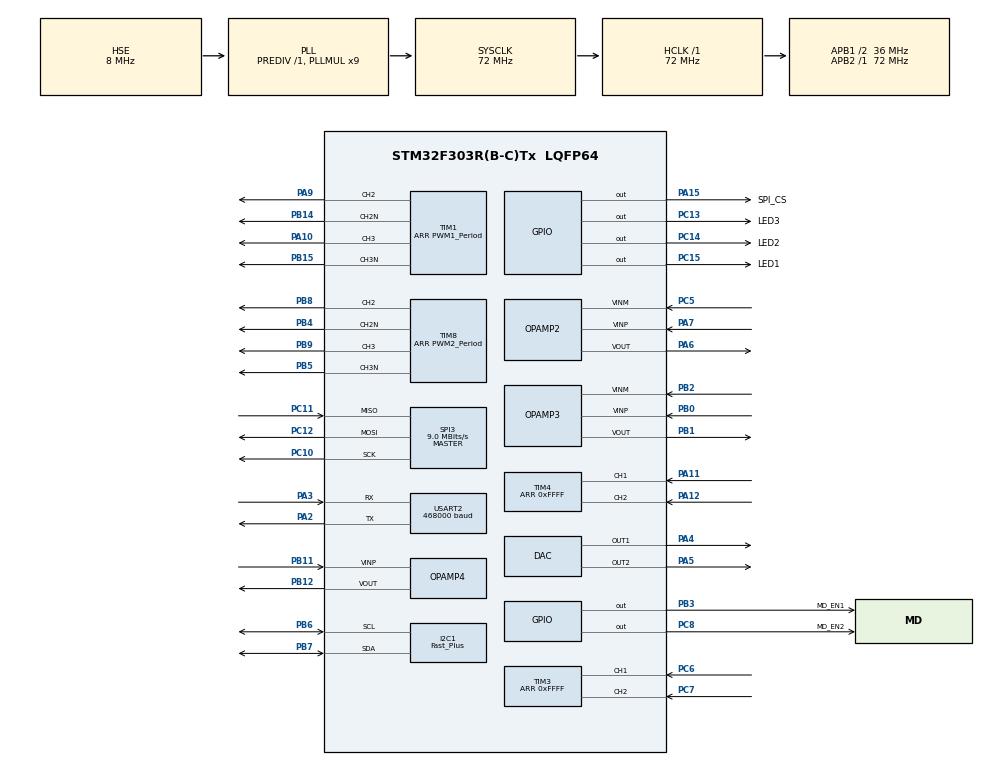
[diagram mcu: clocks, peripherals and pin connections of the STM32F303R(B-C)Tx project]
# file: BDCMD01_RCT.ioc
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ADC1.Channel-0\#ChannelRegularConversion=ADC_CHANNEL_TEMPSENSOR
ADC1.Channel-1\#ChannelRegularConversion=ADC_CHANNEL_VREFINT
ADC1.ClockPrescaler=ADC_CLOCK_ASYNC_DIV1
ADC1.ContinuousConvMode=ENABLE
ADC1.DMAContinuousRequests=ENABLE
ADC1.DataAlign=ADC_DATAALIGN_RIGHT
ADC1.DiscontinuousConvMode=DISABLE
ADC1.EOCSelection=ADC_EOC_SEQ_CONV
ADC1.EnableAnalogWatchDog1=false
ADC1.EnableAnalogWatchDog2=false
ADC1.EnableAnalogWatchDog3=false
ADC1.EnableInjectedConversion=DISABLE
ADC1.EnableRegularConversion=ENABLE
ADC1.ExternalTrigConv=ADC_SOFTWARE_START
ADC1.ExternalTrigConvEdge=ADC_EXTERNALTRIGCONVEDGE_NONE
ADC1.LowPowerAutoWait=DISABLE
ADC1.NbrOfConversion=2
ADC1.Offset-0\#ChannelRegularConversion=0
ADC1.Offset-1\#ChannelRegularConversion=0
ADC1.OffsetNumber-0\#ChannelRegularConversion=ADC_OFFSET_NONE
ADC1.OffsetNumber-1\#ChannelRegularConversion=ADC_OFFSET_NONE
ADC1.Overrun=ADC_OVR_DATA_OVERWRITTEN
ADC1.Rank-0\#ChannelRegularConversion=1
ADC1.Rank-1\#ChannelRegularConversion=2
ADC1.Resolution=ADC_RESOLUTION_12B
ADC1.SamplingTime-0\#ChannelRegularConversion=ADC_SAMPLETIME_601CYCLES_5
ADC1.SamplingTime-1\#ChannelRegularConversion=ADC_SAMPLETIME_601CYCLES_5
ADC1.ScanConvMode=ADC_SCAN_ENABLE
ADC1.master=1
ADC2.Channel-0\#ChannelRegularConversion=ADC_CHANNEL_3
ADC2.ClockPrescaler=ADC_CLOCK_ASYNC_DIV1
ADC2.ContinuousConvMode=ENABLE
ADC2.DMAContinuousRequests=ENABLE
ADC2.DataAlign=ADC_DATAALIGN_RIGHT
ADC2.DiscontinuousConvMode=DISABLE
ADC2.EOCSelection=ADC_EOC_SEQ_CONV
ADC2.EnableAnalogWatchDog1=false
ADC2.EnableAnalogWatchDog2=false
ADC2.EnableAnalogWatchDog3=false
ADC2.EnableInjectedConversion=DISABLE
ADC2.EnableRegularConversion=ENABLE
ADC2.LowPowerAutoWait=DISABLE
ADC2.NbrOfConversion=1
ADC2.Offset-0\#ChannelRegularConversion=0
ADC2.OffsetNumber-0\#ChannelRegularConversion=ADC_OFFSET_NONE
ADC2.Overrun=ADC_OVR_DATA_PRESERVED
ADC2.Rank-0\#ChannelRegularConversion=1
ADC2.Resolution=ADC_RESOLUTION_12B
ADC2.SamplingTime-0\#ChannelRegularConversion=ADC_SAMPLETIME_61CYCLES_5
ADC2.ScanConvMode=ADC_SCAN_DISABLE
ADC3.Channel-0\#ChannelRegularConversion=ADC_CHANNEL_1
ADC3.ClockPrescaler=ADC_CLOCK_ASYNC_DIV1
ADC3.ContinuousConvMode=ENABLE
ADC3.DMAContinuousRequests=ENABLE
ADC3.DataAlign=ADC_DATAALIGN_RIGHT
ADC3.DiscontinuousConvMode=DISABLE
ADC3.EOCSelection=ADC_EOC_SEQ_CONV
ADC3.EnableAnalogWatchDog1=false
ADC3.EnableAnalogWatchDog2=false
ADC3.EnableAnalogWatchDog3=false
ADC3.EnableInjectedConversion=DISABLE
ADC3.EnableRegularConversion=ENABLE
ADC3.ExternalTrigConv=ADC_SOFTWARE_START
ADC3.ExternalTrigConvEdge=ADC_EXTERNALTRIGCONVEDGE_NONE
ADC3.LowPowerAutoWait=DISABLE
ADC3.NbrOfConversion=1
ADC3.Offset-0\#ChannelRegularConversion=0
ADC3.OffsetNumber-0\#ChannelRegularConversion=ADC_OFFSET_NONE
ADC3.Overrun=ADC_OVR_DATA_PRESERVED
ADC3.Rank-0\#ChannelRegularConversion=1
ADC3.Resolution=ADC_RESOLUTION_12B
ADC3.SamplingTime-0\#ChannelRegularConversion=ADC_SAMPLETIME_61CYCLES_5
ADC3.ScanConvMode=ADC_SCAN_DISABLE
ADC3.master=1
ADC4.Channel-0\#ChannelRegularConversion=ADC_CHANNEL_3
ADC4.ClockPrescaler=ADC_CLOCK_ASYNC_DIV1
ADC4.ContinuousConvMode=ENABLE
ADC4.DMAContinuousRequests=ENABLE
ADC4.DataAlign=ADC_DATAALIGN_RIGHT
ADC4.DiscontinuousConvMode=DISABLE
ADC4.EOCSelection=ADC_EOC_SEQ_CONV
ADC4.EnableAnalogWatchDog1=false
ADC4.EnableAnalogWatchDog2=false
ADC4.EnableAnalogWatchDog3=false
ADC4.EnableInjectedConversion=DISABLE
ADC4.EnableRegularConversion=ENABLE
ADC4.LowPowerAutoWait=DISABLE
ADC4.NbrOfConversion=1
ADC4.Offset-0\#ChannelRegularConversion=0
ADC4.OffsetNumber-0\#ChannelRegularConversion=ADC_OFFSET_NONE
ADC4.Overrun=ADC_OVR_DATA_PRESERVED
ADC4.Rank-0\#ChannelRegularConversion=1
ADC4.Resolution=ADC_RESOLUTION_12B
ADC4.SamplingTime-0\#ChannelRegularConversion=ADC_SAMPLETIME_601CYCLES_5
ADC4.ScanConvMode=ADC_SCAN_DISABLE
Dma.ADC1.6.Direction=DMA_PERIPH_TO_MEMORY
Dma.ADC1.6.Instance=DMA1_Channel1
Dma.ADC1.6.MemDataAlignment=DMA_MDATAALIGN_HALFWORD
Dma.ADC1.6.MemInc=DMA_MINC_ENABLE
Dma.ADC1.6.Mode=DMA_CIRCULAR
Dma.ADC1.6.PeriphDataAlignment=DMA_PDATAALIGN_HALFWORD
Dma.ADC1.6.PeriphInc=DMA_PINC_DISABLE
Dma.ADC1.6.Priority=DMA_PRIORITY_HIGH
Dma.ADC2.7.Direction=DMA_PERIPH_TO_MEMORY
Dma.ADC2.7.Instance=DMA2_Channel3
Dma.ADC2.7.MemDataAlignment=DMA_MDATAALIGN_HALFWORD
Dma.ADC2.7.MemInc=DMA_MINC_ENABLE
Dma.ADC2.7.Mode=DMA_CIRCULAR
Dma.ADC2.7.PeriphDataAlignment=DMA_PDATAALIGN_HALFWORD
Dma.ADC2.7.PeriphInc=DMA_PINC_DISABLE
Dma.ADC2.7.Priority=DMA_PRIORITY_HIGH
Dma.ADC3.5.Direction=DMA_PERIPH_TO_MEMORY
Dma.ADC3.5.Instance=DMA2_Channel5
Dma.ADC3.5.MemDataAlignment=DMA_MDATAALIGN_HALFWORD
Dma.ADC3.5.MemInc=DMA_MINC_ENABLE
Dma.ADC3.5.Mode=DMA_CIRCULAR
Dma.ADC3.5.PeriphDataAlignment=DMA_PDATAALIGN_HALFWORD
Dma.ADC3.5.PeriphInc=DMA_PINC_DISABLE
Dma.ADC3.5.Priority=DMA_PRIORITY_HIGH
Dma.ADC4.4.Direction=DMA_PERIPH_TO_MEMORY
Dma.ADC4.4.Instance=DMA2_Channel4
Dma.ADC4.4.MemDataAlignment=DMA_MDATAALIGN_HALFWORD
Dma.ADC4.4.MemInc=DMA_MINC_ENABLE
Dma.ADC4.4.Mode=DMA_CIRCULAR
Dma.ADC4.4.PeriphDataAlignment=DMA_PDATAALIGN_HALFWORD
Dma.ADC4.4.PeriphInc=DMA_PINC_DISABLE
Dma.ADC4.4.Priority=DMA_PRIORITY_HIGH
Dma.I2C1_RX.2.Direction=DMA_PERIPH_TO_MEMORY
Dma.I2C1_RX.2.Instance=DMA1_Channel7
Dma.I2C1_RX.2.MemDataAlignment=DMA_MDATAALIGN_BYTE
Dma.I2C1_RX.2.MemInc=DMA_MINC_ENABLE
Dma.I2C1_RX.2.Mode=DMA_NORMAL
Dma.I2C1_RX.2.PeriphDataAlignment=DMA_PDATAALIGN_BYTE
Dma.I2C1_RX.2.PeriphInc=DMA_PINC_DISABLE
Dma.I2C1_RX.2.Priority=DMA_PRIORITY_LOW
Dma.I2C1_TX.3.Direction=DMA_MEMORY_TO_PERIPH
Dma.I2C1_TX.3.Instance=DMA1_Channel6
Dma.I2C1_TX.3.MemDataAlignment=DMA_MDATAALIGN_BYTE
Dma.I2C1_TX.3.MemInc=DMA_MINC_ENABLE
Dma.I2C1_TX.3.Mode=DMA_NORMAL
Dma.I2C1_TX.3.PeriphDataAlignment=DMA_PDATAALIGN_BYTE
Dma.I2C1_TX.3.PeriphInc=DMA_PINC_DISABLE
Dma.I2C1_TX.3.Priority=DMA_PRIORITY_LOW
Dma.Request0=SPI3_RX
Dma.Request1=SPI3_TX
Dma.Request2=I2C1_RX
Dma.Request3=I2C1_TX
Dma.Request4=ADC4
Dma.Request5=ADC3
Dma.Request6=ADC1
Dma.Request7=ADC2
Dma.SPI3_RX.0.Direction=DMA_PERIPH_TO_MEMORY
Dma.SPI3_RX.0.Instance=DMA2_Channel1
Dma.SPI3_RX.0.MemDataAlignment=DMA_MDATAALIGN_BYTE
Dma.SPI3_RX.0.MemInc=DMA_MINC_ENABLE
Dma.SPI3_RX.0.Mode=DMA_NORMAL
Dma.SPI3_RX.0.PeriphDataAlignment=DMA_PDATAALIGN_BYTE
Dma.SPI3_RX.0.PeriphInc=DMA_PINC_DISABLE
Dma.SPI3_RX.0.Priority=DMA_PRIORITY_LOW
Dma.SPI3_TX.1.Direction=DMA_MEMORY_TO_PERIPH
Dma.SPI3_TX.1.Instance=DMA2_Channel2
Dma.SPI3_TX.1.MemDataAlignment=DMA_MDATAALIGN_BYTE
Dma.SPI3_TX.1.MemInc=DMA_MINC_ENABLE
Dma.SPI3_TX.1.Mode=DMA_NORMAL
Dma.SPI3_TX.1.PeriphDataAlignment=DMA_PDATAALIGN_BYTE
Dma.SPI3_TX.1.PeriphInc=DMA_PINC_DISABLE
Dma.SPI3_TX.1.Priority=DMA_PRIORITY_LOW
I2C1.I2C_Speed_Mode=I2C_Fast_Plus
I2C1.Speed=1000
I2C1.Timing=0x00000001
Mcu.Family=STM32F3
Mcu.Name=STM32F303R(B-C)Tx
Mcu.Package=LQFP64
Mcu.UserConstants=PWM1_Period,1600;PWM1_DeadTime,8;PWM2_Period,1600;PWM2_DeadTime,8;TC_Period,(72000/15);SC_Period,(72000/3);PWM1_DT_OFST,(8);PWM2_DT_OFST,(8)
NVIC.DMA1_Channel1_IRQn=true\:14\:0\:true\:false\:true
NVIC.DMA1_Channel6_IRQn=true\:14\:0\:true\:false\:true
NVIC.DMA1_Channel7_IRQn=true\:14\:0\:true\:false\:true
NVIC.DMA2_Channel1_IRQn=true\:14\:0\:true\:false\:true
NVIC.DMA2_Channel2_IRQn=true\:14\:0\:true\:false\:true
NVIC.DMA2_Channel3_IRQn=true\:14\:0\:true\:false\:true
NVIC.DMA2_Channel4_IRQn=true\:14\:0\:true\:false\:true
NVIC.DMA2_Channel5_IRQn=true\:14\:0\:true\:false\:true
NVIC.I2C1_ER_IRQn=true\:15\:0\:true\:false\:true
NVIC.I2C1_EV_IRQn=true\:15\:0\:true\:false\:true
NVIC.PriorityGroup=NVIC_PRIORITYGROUP_4
NVIC.SPI3_IRQn=true\:13\:0\:true\:false\:true
NVIC.TIM1_UP_TIM16_IRQn=true\:0\:0\:true\:false\:false
NVIC.TIM3_IRQn=true\:4\:0\:true\:false\:false
NVIC.TIM4_IRQn=true\:4\:0\:true\:false\:false
NVIC.TIM6_DAC_IRQn=true\:0\:0\:true\:false\:true
NVIC.TIM7_IRQn=true\:1\:0\:true\:false\:true
NVIC.TIM8_UP_IRQn=true\:0\:0\:false\:false\:false
NVIC.USART2_IRQn=true\:15\:0\:true\:false\:false
OPAMP2.SelfCalibration=Disable
OPAMP2.UserTrimming=OPAMP_TRIMMING_USER
OPAMP3.UserTrimming=OPAMP_TRIMMING_USER
OPAMP4.UserTrimming=OPAMP_TRIMMING_USER
PA10.GPIO_PuPd=GPIO_PULLDOWN
PA10.Signal=S_TIM1_CH3
PA11.GPIO_PuPd=GPIO_PULLUP
PA11.Signal=S_TIM4_CH1
PA12.GPIO_PuPd=GPIO_PULLUP
PA12.Signal=S_TIM4_CH2
PA13.Mode=Serial_Wire
PA13.Signal=SYS_JTMS-SWDIO
PA14.Mode=Serial_Wire
PA14.Signal=SYS_JTCK-SWCLK
PA15.GPIO_Label=SPI_CS
PA15.Signal=GPIO_Output
PA2.Mode=Asynchronous
PA2.Signal=USART2_TX
PA3.Mode=Asynchronous
PA3.Signal=USART2_RX
PA4.Signal=COMP_DAC1_group
PA5.Signal=COMP_DAC2_group
PA6.Mode=Standalone
PA6.Signal=OPAMP2_VOUT
PA7.Mode=Standalone
PA7.Signal=OPAMP2_VINP
PA9.GPIO_PuPd=GPIO_PULLDOWN
PA9.Signal=S_TIM1_CH2
PB0.Mode=Standalone
PB0.Signal=OPAMP3_VINP
PB1.Mode=Standalone
PB1.Signal=OPAMP3_VOUT
PB11.Mode=Follower
PB11.Signal=OPAMP4_VINP
PB12.Mode=Follower
PB12.Signal=OPAMP4_VOUT
PB14.GPIO_PuPd=GPIO_PULLDOWN
PB14.Mode=PWM Generation2 CH2 CH2N
PB14.Signal=TIM1_CH2N
PB15.GPIO_PuPd=GPIO_PULLDOWN
PB15.Mode=PWM Generation3 CH3 CH3N
PB15.Signal=TIM1_CH3N
PB2.Mode=Standalone
PB2.Signal=OPAMP3_VINM
PB3.GPIO_Label=MD_EN1
PB3.Signal=GPIO_Output
PB4.GPIO_PuPd=GPIO_PULLDOWN
PB4.Mode=PWM Generation2 CH2 CH2N
PB4.Signal=TIM8_CH2N
PB5.GPIO_PuPd=GPIO_PULLDOWN
PB5.Mode=PWM Generation3 CH3 CH3N
PB5.Signal=TIM8_CH3N
PB6.Mode=I2C
PB6.Signal=I2C1_SCL
PB7.Mode=I2C
PB7.Signal=I2C1_SDA
PB8.GPIO_PuPd=GPIO_PULLDOWN
PB8.Signal=S_TIM8_CH2
PB9.GPIO_PuPd=GPIO_PULLDOWN
PB9.Signal=S_TIM8_CH3
PC10.Mode=Full_Duplex_Master
PC10.Signal=SPI3_SCK
PC11.Mode=Full_Duplex_Master
PC11.Signal=SPI3_MISO
PC12.Mode=Full_Duplex_Master
PC12.Signal=SPI3_MOSI
PC13.GPIO_Label=LED3
PC13.Signal=GPIO_Output
PC14-OSC32_IN.GPIO_Label=LED2
PC14-OSC32_IN.Signal=GPIO_Output
PC15-OSC32_OUT.GPIO_Label=LED1
PC15-OSC32_OUT.Signal=GPIO_Output
PC5.Mode=Standalone
PC5.Signal=OPAMP2_VINM
PC6.GPIO_PuPd=GPIO_PULLUP
PC6.Signal=S_TIM3_CH1
PC7.GPIO_PuPd=GPIO_NOPULL
PC7.Signal=S_TIM3_CH2
PC8.GPIO_Label=MD_EN2
PC8.Signal=GPIO_Output
PF0-OSC_IN.Mode=HSE-External-Clock-Source
PF0-OSC_IN.Signal=RCC_OSC_IN
ProjectManager.HeapSize=0x200
ProjectManager.StackSize=0x400
ProjectManager.TargetToolchain=TrueSTUDIO
RCC.ADC12PRES=RCC_ADC12PLLCLK_DIV2
RCC.ADC34PRES=RCC_ADC34PLLCLK_DIV2
RCC.AHBFreq_Value=72000000
RCC.APB1CLKDivider=RCC_HCLK_DIV2
RCC.APB1Freq_Value=36000000
RCC.APB1TimFreq_Value=72000000
RCC.APB2Freq_Value=72000000
RCC.APB2TimFreq_Value=72000000
RCC.CortexFreq_Value=72000000
RCC.FLatency=FLASH_LATENCY_2
RCC.HCLKFreq_Value=72000000
RCC.HSE_VALUE=8000000
RCC.HSI_VALUE=8000000
RCC.LSE_VALUE=32768
RCC.PLLMUL=RCC_PLL_MUL9
RCC.PLLSourceVirtual=RCC_PLLSOURCE_HSE
RCC.SYSCLKFreq_VALUE=72000000
RCC.SYSCLKSourceVirtual=RCC_SYSCLKSOURCE_PLLCLK
RCC.TIM1Selection=RCC_TIM1CLK_PLLCLK
RCC.TIM8Selection=RCC_TIM8CLK_PLLCLK
RCC.USBFreq_Value=72000000
RCC.Usart2ClockSelection=RCC_USART2CLKSOURCE_SYSCLK
SH.COMP_DAC1_group.0=DAC_OUT1,DAC_OUT1
SH.COMP_DAC2_group.0=DAC_OUT2,Enable_DAC_OUT2
SH.S_TIM1_CH2.0=TIM1_CH2,PWM Generation2 CH2 CH2N
SH.S_TIM1_CH3.0=TIM1_CH3,PWM Generation3 CH3 CH3N
SH.S_TIM3_CH1.0=TIM3_CH1,Encoder_Interface
SH.S_TIM3_CH2.0=TIM3_CH2,Encoder_Interface
SH.S_TIM4_CH1.0=TIM4_CH1,Encoder_Interface
SH.S_TIM4_CH2.0=TIM4_CH2,Encoder_Interface
SH.S_TIM8_CH2.0=TIM8_CH2,PWM Generation2 CH2 CH2N
SH.S_TIM8_CH3.0=TIM8_CH3,PWM Generation3 CH3 CH3N
SPI3.BaudRatePrescaler=SPI_BAUDRATEPRESCALER_4
SPI3.CLKPhase=SPI_PHASE_2EDGE
SPI3.CLKPolarity=SPI_POLARITY_HIGH
SPI3.CalculateBaudRate=9.0 MBits/s
SPI3.DataSize=SPI_DATASIZE_8BIT
SPI3.Mode=SPI_MODE_MASTER
TIM1.Channel-PWM\ Generation2\ CH2\ CH2N=TIM_CHANNEL_2
TIM1.Channel-PWM\ Generation3\ CH3\ CH3N=TIM_CHANNEL_3
TIM1.CounterMode=TIM_COUNTERMODE_CENTERALIGNED1
TIM1.DeadTime=PWM1_DeadTime
TIM1.OCFastMode_PWM-PWM\ Generation2\ CH2\ CH2N=TIM_OCFAST_DISABLE
TIM1.OCFastMode_PWM-PWM\ Generation3\ CH3\ CH3N=TIM_OCFAST_DISABLE
TIM1.OCIdleState_3=TIM_OCIDLESTATE_RESET
TIM1.OCNIdleState_3=TIM_OCNIDLESTATE_RESET
TIM1.OCNPolarity_2=TIM_OCNPOLARITY_LOW
TIM1.OCNPolarity_3=TIM_OCNPOLARITY_LOW
TIM1.OCPolarity_2=TIM_OCPOLARITY_LOW
TIM1.OCPolarity_3=TIM_OCPOLARITY_LOW
TIM1.Period=PWM1_Period
TIM1.Pulse-PWM\ Generation2\ CH2\ CH2N=PWM1_Period/2
TIM1.Pulse-PWM\ Generation3\ CH3\ CH3N=PWM1_Period/2
TIM3.EncoderMode=TIM_ENCODERMODE_TI12
TIM3.IC1Polarity=TIM_ICPOLARITY_RISING
TIM3.IC2Polarity=TIM_ICPOLARITY_RISING
TIM3.Period=0xFFFF
TIM4.EncoderMode=TIM_ENCODERMODE_TI12
TIM4.IC1Polarity=TIM_ICPOLARITY_RISING
TIM4.IC2Polarity=TIM_ICPOLARITY_RISING
TIM4.Period=0xFFFF
TIM6.Period=TC_Period
TIM7.Period=SC_Period
TIM8.Channel-PWM\ Generation2\ CH2\ CH2N=TIM_CHANNEL_2
TIM8.Channel-PWM\ Generation3\ CH3\ CH3N=TIM_CHANNEL_3
TIM8.CounterMode=TIM_COUNTERMODE_CENTERALIGNED1
TIM8.DeadTime=PWM2_DeadTime
TIM8.OCFastMode_PWM-PWM\ Generation2\ CH2\ CH2N=TIM_OCFAST_DISABLE
TIM8.OCFastMode_PWM-PWM\ Generation3\ CH3\ CH3N=TIM_OCFAST_DISABLE
TIM8.OCNPolarity_2=TIM_OCNPOLARITY_LOW
TIM8.OCNPolarity_3=TIM_OCNPOLARITY_LOW
TIM8.OCPolarity_2=TIM_OCPOLARITY_LOW
TIM8.OCPolarity_3=TIM_OCPOLARITY_LOW
TIM8.Period=PWM2_Period
TIM8.Pulse-PWM\ Generation2\ CH2\ CH2N=PWM2_Period/2
TIM8.Pulse-PWM\ Generation3\ CH3\ CH3N=PWM2_Period/2
USART2.BaudRate=468000
USART2.DMADisableonRxErrorParam=UART_ADVFEATURE_DMA_DISABLEONRXERROR
USART2.OverSampling=UART_OVERSAMPLING_16
USART2.SwapParam=UART_ADVFEATURE_SWAP_DISABLE
USART2.WordLength=UART_WORDLENGTH_8B
VP_ADC1_TempSens_Input.Mode=IN-TempSens
VP_ADC1_Vref_Input.Mode=IN-Vrefint
VP_ADC2_OPAMP_OUT2.Mode=IN-OPAMP2-Single-Ended
VP_ADC3_OPAMP_OUT3.Mode=IN-OPAMP3-Single-Ended
VP_ADC4_OPAMP_OUT4.Mode=IN-OPAMP4-Single-Ended
VP_TIM1_VS_ClockSourceINT.Mode=Internal
VP_TIM6_VS_ClockSourceINT.Mode=Enable_Timer
VP_TIM7_VS_ClockSourceINT.Mode=Enable_Timer
VP_TIM8_VS_ClockSourceINT.Mode=Internal
board=BDCMD01_RCT

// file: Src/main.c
/**
  ******************************************************************************
  * File Name          : main.c
  * Description        : Main program body
  ******************************************************************************
  *
  * COPYRIGHT(c) 2017 STMicroelectronics
  *
  * Redistribution and use in source and binary forms, with or without modification,
  * are permitted provided that the following conditions are met:
  *   1. Redistributions of source code must retain the above copyright notice,
  *      this list of conditions and the following disclaimer.
  *   2. Redistributions in binary form must reproduce the above copyright notice,
  *      this list of conditions and the following disclaimer in the documentation
  *      and/or other materials provided with the distribution.
  *   3. Neither the name of STMicroelectronics nor the names of its contributors
  *      may be used to endorse or promote products derived from this software
  *      without specific prior written permission.
  *
  * THIS SOFTWARE IS PROVIDED BY THE COPYRIGHT HOLDERS AND CONTRIBUTORS "AS IS"
  * AND ANY EXPRESS OR IMPLIED WARRANTIES, INCLUDING, BUT NOT LIMITED TO, THE
  * IMPLIED WARRANTIES OF MERCHANTABILITY AND FITNESS FOR A PARTICULAR PURPOSE ARE
  * DISCLAIMED. IN NO EVENT SHALL THE COPYRIGHT HOLDER OR CONTRIBUTORS BE LIABLE
  * FOR ANY DIRECT, INDIRECT, INCIDENTAL, SPECIAL, EXEMPLARY, OR CONSEQUENTIAL
  * DAMAGES (INCLUDING, BUT NOT LIMITED TO, PROCUREMENT OF SUBSTITUTE GOODS OR
  * SERVICES; LOSS OF USE, DATA, OR PROFITS; OR BUSINESS INTERRUPTION) HOWEVER
  * CAUSED AND ON ANY THEORY OF LIABILITY, WHETHER IN CONTRACT, STRICT LIABILITY,
  * OR TORT (INCLUDING NEGLIGENCE OR OTHERWISE) ARISING IN ANY WAY OUT OF THE USE
  * OF THIS SOFTWARE, EVEN IF ADVISED OF THE POSSIBILITY OF SUCH DAMAGE.
  *
  ******************************************************************************
  */
#include "main.h"
#include "stm32f3xx_hal.h"
#include "adc.h"
#include "dac.h"
#include "dma.h"
#include "i2c.h"
#include "opamp.h"
#include "spi.h"
#include "tim.h"
#include "usart.h"
#include "gpio.h"

/* USER CODE BEGIN Includes */
/* Device memo				*/
/* Flash 256 kB 			*/
/* SRAM  40 kB				*/
/* CCM RAM 8 kB				*/
#include <stdbool.h>
#include <stdint.h>
#include <arm_math.h>
#include "led.h"
#include "uart_util.h"
#include "pwm.h"
#include "xprintf.h"
#include "LSM6DS3_Driver.h"
#include "S24C02D_Driver.h"
#include "encoder.h"
#include "torque_cntl.h"
#include "speed_cntl.h"
#include "MadgwickAHRS.h"
/* USER CODE END Includes */

/* USER CODE BEGIN PV */
/* Private variables ---------------------------------------------------------*/

/* USER CODE END PV */

void SystemClock_Config(void);
void Error_Handler(void);

/* USER CODE BEGIN PFP */
/* Private function prototypes -----------------------------------------------*/
/* USER CODE END PFP */

/* USER CODE BEGIN 0 */
const uint32_t Interval = 50;
volatile uint32_t tick_last = 0;
volatile uint32_t tick_now = 0;
int32_t rpm_log_num = 0;

MotorProfile mtp_PG45775 = {
	0,
	"PG45775 24V 6000rpm",
	4400,		// measured value
	1865,		// measured value
	6000,
	5233 / 24,
	385,
	12100,
	630,
	24000,
	30800,
	0,
	0,
	0
};

MotorProfile mtp_GT_Tuen = {
	0,
	"Tamiya GT Tune",
	200,		// measured value
	75,			// measured value
	16400,
	2277,
	0,
	36000,
	3100,
	7200,
	120000,
	0,
	0,
	0
};

int32_t led_pos = 1;
uint8_t buf[] = {
		0x00,
		0x01,
		0x02,
		0x03,
		0x04,
		0x05,
		0x06,
		0x07
};
bool set_duty(int32_t argc,int32_t* argv);
UU_ConsoleCommand duty_cmd = {
	"DUTY",
	set_duty,
	"DUTY [ch] [percent]\r\n\
	Set duty ratio to motor driver [ch]. [percent] can set a number between -100 to 100."
};

bool print_cur(int32_t argc, int32_t* argv);
UU_ConsoleCommand cur_cmd = {
	"CUR",
	print_cur,
	"CUR [ch]\r\n\
	Get present current value of [ch] in [mA]. It will print both value if do not set [ch] argument."
};

bool print_adc(int32_t argc, int32_t* argv);
UU_ConsoleCommand print_adc_cmd = {
	"ADC",
	print_adc,
	"ADC [ch]\r\n\
	Get present ADC value of [ch] in raw value. It will print all value if do not set [ch] argument."
};

bool print_vb(int32_t argc, int32_t* argv);
UU_ConsoleCommand print_vb_cmd = {
	"VB",
	print_vb,
	"VB\r\n\
	Get present input voltage in [mV]."
};

bool set_pwm_mode(int32_t argc, int32_t* argv);
UU_ConsoleCommand set_pwm_mode_cmd = {
	"PWMMODE",
	set_pwm_mode,
	"PWMMODE [ch] [mode]\r\n\
	Set / Get PWM output mode. [ch] is 1, 2 or 3. 3 is both. [mode] is 0 (Duty) or 1 (Vcmd). "
};

bool vcmd(int32_t argc, int32_t* argv);
UU_ConsoleCommand vcmd_cmd = {
	"VCMD",
	vcmd,
	"VCMD [ch] [mV]\r\n\
	Set target output voltage in [mV] for [ch]. [ch] is 1 , 2 or 3. 3 is both."
};

bool imu_read(int32_t argc, int32_t* argv);
UU_ConsoleCommand imu_read_cmd = {
	"IMU",
	imu_read,
	"IMU\r\n\
	Get raw IMU value"
};

bool enc_read(int32_t argc, int32_t* argv);
UU_ConsoleCommand enc_read_cmd = {
	"ENC",
	enc_read,
	"ENC\r\n\
	Get raw encoder value"
};

bool tc_en(int32_t argc, int32_t* argv);
UU_ConsoleCommand tc_en_cmd = {
	"TCEN",
	tc_en,
	"TC_EN [ch]\r\n\
	Enable a torque controller"
};

bool ccmd(int32_t argc, int32_t* argv);
UU_ConsoleCommand ccmd_cmd = {
	"CCMD",
	ccmd,
	"CCMD [ch] [mA]\r\n\
	Set target output current in [mA] for [ch]. [ch] is 1 , 2 or 3. 3 is both."
};

bool tcmd(int32_t argc, int32_t* argv);
UU_ConsoleCommand tcmd_cmd = {
	"TCMD",
	tcmd,
	"TCMD [ch] [uNm]\r\n\
	Set target output torque in [uNm] for [ch]. [ch] is 1 , 2 or 3. 3 is both."
};

bool tc_gain(int32_t argc, int32_t* argv);
UU_ConsoleCommand tc_gain_cmd = {
	"TCGAIN",
	tc_gain,
	"TCGAIN [ch] [kp] [ki] [kd]\r\n\
	Set PID gain to [ch]. [ch] is 1 , 2 or 3. 3 is both."
};

bool tc_lsm(int32_t argc, int32_t* argv);
UU_ConsoleCommand tc_lsm_cmd = {
	"TCLSM",
	tc_lsm,
	"TCLSM [ch] [kc] [fc]\r\n\
	Set PID gain by Limit Sensitibity Method to [ch]. [ch] is 1 , 2 or 3. 3 is both.\r\n\
	kc : limit kp\r\n\
	fc : vibration freq[Hz]"
};

bool tc_bemf(int32_t argc, int32_t* argv);
UU_ConsoleCommand tc_bemf_cmd = {
	"BEMF",
	tc_bemf,
	"BEMF [ch]\r\n\
	Get BEMF value of [ch]. [ch] is 1 or 2"
};

bool tc_vout(int32_t argc, int32_t* argv);
UU_ConsoleCommand tc_vout_cmd = {
	"TCVO",
	tc_vout,
	"TCVO [ch]\r\n\
	Get Vout value of [ch]. [ch] is 1 or 2"
};

bool sc_en(int32_t argc, int32_t* argv);
UU_ConsoleCommand sc_en_cmd = {
	"SCEN",
	sc_en,
	"SC_EN [ch]\r\n\
	Enable a speed controller"
};

bool rpmcmd(int32_t argc, int32_t* argv);
UU_ConsoleCommand rpmcmd_cmd = {
	"RPM",
	rpmcmd,
	"RPM [ch] [rpm]\r\n\
	Set target speed in [rpm] for [ch]. [ch] is 1 , 2 or 3. 3 is both."
};

bool sc_gain(int32_t argc, int32_t* argv);
UU_ConsoleCommand sc_gain_cmd = {
	"SCGAIN",
	sc_gain,
	"SCGAIN [ch] [kp] [ki] [kd]\r\n\
	Set PID gain to [ch]. [ch] is 1 , 2 or 3. 3 is both."
};

bool sc_lsm(int32_t argc, int32_t* argv);
UU_ConsoleCommand sc_lsm_cmd = {
	"SCLSM",
	sc_lsm,
	"SCLSM [ch] [kc] [fc]\r\n\
	Set PID gain by Limit Sensitibity Method to [ch]. [ch] is 1 , 2 or 3. 3 is both.\r\n\
	kc : limit kp\r\n\
	fc : vibration freq[Hz]"
};

bool clk_info(int32_t argc, int32_t* argv);
UU_ConsoleCommand clk_cmd = {
	"CLK",
	clk_info,
	"CLK\r\n\
	Get Clock information"
};

bool rpm_log(int32_t argc, int32_t* argv);
UU_ConsoleCommand rpm_log_cmd = {
	"RPMLOG",
	rpm_log,
	"RPMLOG [number]\r\n\
	Start RPM log"
};

bool get_pose(int32_t argc, int32_t* argv);
UU_ConsoleCommand pose_cmd = {
	"POSE",
	get_pose,
	"POSE\r\n\
	Return current pose of the board"
};

/* USER CODE END 0 */

int main(void)
{

  /* MCU Configuration----------------------------------------------------------*/

  /* Reset of all peripherals, Initializes the Flash interface and the Systick. */
  HAL_Init();

  /* Configure the system clock */
  SystemClock_Config();

  /* Initialize all configured peripherals */
  MX_GPIO_Init();
  MX_DMA_Init();
  MX_ADC1_Init();
  MX_ADC2_Init();
  MX_ADC3_Init();
  MX_ADC4_Init();
  MX_DAC_Init();
  MX_I2C1_Init();
  MX_OPAMP2_Init();
  MX_OPAMP3_Init();
  MX_OPAMP4_Init();
  MX_SPI3_Init();
  MX_TIM1_Init();
  MX_TIM3_Init();
  MX_TIM4_Init();
  MX_TIM6_Init();
  MX_TIM8_Init();
  MX_USART2_UART_Init();
  MX_TIM7_Init();

  /* USER CODE BEGIN 2 */
  led_init();
  uu_init();
  xprintf("Build: %s %s\r\n",__DATE__,__TIME__);

  if(HAL_OK == opa_start_cal()){
	  xprintf("OP amp calibration success.\r\n");
  }else{
	  xprintf("OP amp calibration fail.\r\n");
  }
  opa_start();

  if(HAL_OK == adc_start_cal()){
	  xprintf("ADC calibration success.\r\n");
  }else{
	  xprintf("ADC calibration fail.\r\n");
  }
  adc_start();
  xputs("Start ADC\r\n");
  dac_start();
  xputs("Start DAC\r\n");
  dac_set_mv(0, 1000);
  dac_set_mv(1, 2000);

  pwm_enable();
  xputs("Enable PWM\r\n");

  tc_init();
  sc_init();

  IMU_init();
  IMU_set_acc_range(IMU_ACC_2g);
  IMU_set_gyro_range(IMU_GYRO_500dps);
  IMU_set_acc_rate(IMU_ACC_1666);
  IMU_set_gyro_rate(IMU_GYRO_1666);

  eeprom_init(0xA0);
  if(HAL_OK != eeprom_write_page(0x00, buf)){
	  xputs("eep write error\r\n");
  }
  xputs("Dump :");
  for(uint32_t i = 0; i < 8; i++){
	  xprintf(" 0x%02X",buf[i]);
  }
  xputs("\r\n");
  for(uint32_t i = 0; i < 8; i++){
	  buf[i] = 0;
  }
  xputs("Dump :");
  for(uint32_t i = 0; i < 8; i++){
	  xprintf(" 0x%02X",buf[i]);
  }
  xputs("\r\n");
  HAL_Delay(10);
  if(HAL_OK != eeprom_read_page_start(0x01, buf)){
	  xputs("eep read error\r\n");
  }
  while(eeprom_is_busy());
  xputs("Dump :");
  for(uint32_t i = 0; i < 8; i++){
	  xprintf(" 0x%02X",buf[i]);
  }
  xputs("\r\n");

  encoder_init(DIR_REV, DIR_REV);
  uu_push_command(&duty_cmd);
  uu_push_command(&cur_cmd);
  uu_push_command(&print_adc_cmd);
  uu_push_command(&print_vb_cmd);
  uu_push_command(&set_pwm_mode_cmd);
  uu_push_command(&vcmd_cmd);
  uu_push_command(&imu_read_cmd);
  uu_push_command(&enc_read_cmd);

  uu_push_command(&tc_en_cmd);
  uu_push_command(&ccmd_cmd);
  uu_push_command(&tcmd_cmd);
  uu_push_command(&tc_gain_cmd);
  uu_push_command(&tc_lsm_cmd);
  uu_push_command(&tc_bemf_cmd);
  uu_push_command(&tc_vout_cmd);

  uu_push_command(&sc_en_cmd);
  uu_push_command(&rpmcmd_cmd);
  uu_push_command(&sc_gain_cmd);
  uu_push_command(&sc_lsm_cmd);
  uu_push_command(&clk_cmd);
  uu_push_command(&rpm_log_cmd);
  uu_push_command(&pose_cmd);

  adc_cur_cal_start();

  pose_init();
  /* USER CODE END 2 */

  /* Infinite loop */
  while (1)
  {

  /* USER CODE BEGIN 3 */
	  tick_now = HAL_GetTick();
	  if(tick_now - tick_last >= Interval){
		  if(tick_now < 64 * Interval){
			  adc_cur_cal();
		  }else{
			  adc_cur_cal_stop();
		  }
		  led_on(led_pos);
		  led_off(~led_pos);
		  led_pos <<= 1;
		  if(led_pos > LED3){
			  led_pos = LED1;
		  }

		  if(rpm_log_num > 0){
			  rpm_log_num--;
			  xprintf("%d,%d,%d\r\n", sc_get_speed_bemf(MD_CH1), sc_get_speed_enc(MD_CH1),adc_cur1());
		  }
		  /*
		  xputs("\r\n");

		  xprintf("Tick:%6d\r\n",tick_now);
		  xprintf("VB :%4d CUR1:%4d CUR2:%4d TEMP:%4d \r\n", adc_get(ADC_VB) * 3300 * 19 / 4095, adc_get(ADC_CUR1), adc_get(ADC_CUR2), adc_get(ADC_TEMP));
		  xprintf("REF:%4d REF :%4d REF :%4d REF :%4d \r\n", adc_get(ADC_REF4), adc_get(ADC_REF2), adc_get(ADC_REF1), adc_get(ADC_REF1));

		  IMU_get_acc(&ax, &ay, &az);
		  xprintf("ACC  X:%6d Y:%6d Z:%6d\r\n", ax, ay, az);

		  IMU_get_gyro(&ax, &ay, &az);
		  xprintf("GYRO X:%6d Y:%6d Z:%6d\r\n", ax, ay, az);

		  xprintf("IMU Temp: %6d\r\n", IMU_get_temp());

		  xprintf("ENC1:%6d ENC2:%6d\r\n", encoder_get(MD_CH1), encoder_get(MD_CH2));
		   */

		  tick_last += Interval;
	  }
	  uu_proc_command();
  }
  /* USER CODE END 3 */

}

/** System Clock Configuration
*/
void SystemClock_Config(void)
{

  RCC_OscInitTypeDef RCC_OscInitStruct;
  RCC_ClkInitTypeDef RCC_ClkInitStruct;
  RCC_PeriphCLKInitTypeDef PeriphClkInit;

    /**Initializes the CPU, AHB and APB busses clocks
    */
  RCC_OscInitStruct.OscillatorType = RCC_OSCILLATORTYPE_HSI|RCC_OSCILLATORTYPE_HSE;
  RCC_OscInitStruct.HSEState = RCC_HSE_BYPASS;
  RCC_OscInitStruct.HSEPredivValue = RCC_HSE_PREDIV_DIV1;
  RCC_OscInitStruct.HSIState = RCC_HSI_ON;
  RCC_OscInitStruct.HSICalibrationValue = 16;
  RCC_OscInitStruct.PLL.PLLState = RCC_PLL_ON;
  RCC_OscInitStruct.PLL.PLLSource = RCC_PLLSOURCE_HSE;
  RCC_OscInitStruct.PLL.PLLMUL = RCC_PLL_MUL9;
  if (HAL_RCC_OscConfig(&RCC_OscInitStruct) != HAL_OK)
  {
    Error_Handler();
  }

    /**Initializes the CPU, AHB and APB busses clocks
    */
  RCC_ClkInitStruct.ClockType = RCC_CLOCKTYPE_HCLK|RCC_CLOCKTYPE_SYSCLK
                              |RCC_CLOCKTYPE_PCLK1|RCC_CLOCKTYPE_PCLK2;
  RCC_ClkInitStruct.SYSCLKSource = RCC_SYSCLKSOURCE_PLLCLK;
  RCC_ClkInitStruct.AHBCLKDivider = RCC_SYSCLK_DIV1;
  RCC_ClkInitStruct.APB1CLKDivider = RCC_HCLK_DIV2;
  RCC_ClkInitStruct.APB2CLKDivider = RCC_HCLK_DIV1;

  if (HAL_RCC_ClockConfig(&RCC_ClkInitStruct, FLASH_LATENCY_2) != HAL_OK)
  {
    Error_Handler();
  }

  PeriphClkInit.PeriphClockSelection = RCC_PERIPHCLK_USART2|RCC_PERIPHCLK_I2C1
                              |RCC_PERIPHCLK_TIM1|RCC_PERIPHCLK_TIM8
                              |RCC_PERIPHCLK_ADC12|RCC_PERIPHCLK_ADC34;
  PeriphClkInit.Usart2ClockSelection = RCC_USART2CLKSOURCE_SYSCLK;
  PeriphClkInit.Adc12ClockSelection = RCC_ADC12PLLCLK_DIV2;
  PeriphClkInit.Adc34ClockSelection = RCC_ADC34PLLCLK_DIV2;
  PeriphClkInit.I2c1ClockSelection = RCC_I2C1CLKSOURCE_HSI;
  PeriphClkInit.Tim1ClockSelection = RCC_TIM1CLK_PLLCLK;
  PeriphClkInit.Tim8ClockSelection = RCC_TIM8CLK_PLLCLK;
  if (HAL_RCCEx_PeriphCLKConfig(&PeriphClkInit) != HAL_OK)
  {
    Error_Handler();
  }

    /**Configure the Systick interrupt time
    */
  HAL_SYSTICK_Config(HAL_RCC_GetHCLKFreq()/1000);

    /**Configure the Systick
    */
  HAL_SYSTICK_CLKSourceConfig(SYSTICK_CLKSOURCE_HCLK);

  /* SysTick_IRQn interrupt configuration */
  HAL_NVIC_SetPriority(SysTick_IRQn, 8, 0);
}

/* USER CODE BEGIN 4 */
#define BLOCK_SIZE (64)
#define NUM_TAPS (63)
int32_t ia[3], ig[3];
float fa[3], fg[3];
int32_t ig_ofst[3] = {0, 0, 0};
int32_t g_cnt = -100;
arm_fir_instance_f32 fir_struct;
uint32_t block_size = BLOCK_SIZE;
float32_t fir_state[BLOCK_SIZE + NUM_TAPS + 1];
/*
float32_t fir_coeffs[NUM_TAPS] = {
		-1.599957890020377e-04,
		-1.079992893898858e-03,
		9.980000000000000e-01,
		-1.079992893898858e-03,
		-1.599957890020377e-04
};
*/
float32_t fir_coeffs[NUM_TAPS] = {
		0.000000000000000e+00 ,
		-2.588688795350144e-05 ,
		-1.088123368621265e-04 ,
		-2.560599756378687e-04 ,
		-4.739466003157051e-04 ,
		-7.676498064290117e-04 ,
		-1.141055372585724e-03 ,
		-1.596628075556499e-03 ,
		-2.135309159660887e-03 ,
		-2.756443148364572e-03 ,
		-3.457736085075439e-03 ,
		-4.235246636048148e-03 ,
		-5.083410795294219e-03 ,
		-5.995100214663904e-03 ,
		-6.961713457688311e-03 ,
		-7.973298759509207e-03 ,
		-9.018706183366089e-03 ,
		-1.008576641229374e-02 ,
		-1.116149281773711e-02 ,
		-1.223230291838822e-02 ,
		-1.328425489489190e-02 ,
		-1.430329446959375e-02 ,
		-1.527550720364601e-02 ,
		-1.618737111277017e-02 ,
		-1.702600446166274e-02 ,
		-1.777940366682992e-02 ,
		-1.843666641746229e-02 ,
		-1.898819541024209e-02 ,
		-1.942587848074459e-02 ,
		-1.974324139310644e-02 ,
		-1.993557011055170e-02 ,
		9.800000000000000e-01 ,
		-1.993557011055170e-02 ,
		-1.974324139310644e-02 ,
		-1.942587848074459e-02 ,
		-1.898819541024209e-02 ,
		-1.843666641746229e-02 ,
		-1.777940366682992e-02 ,
		-1.702600446166274e-02 ,
		-1.618737111277017e-02 ,
		-1.527550720364601e-02 ,
		-1.430329446959375e-02 ,
		-1.328425489489190e-02 ,
		-1.223230291838822e-02 ,
		-1.116149281773711e-02 ,
		-1.008576641229374e-02 ,
		-9.018706183366089e-03 ,
		-7.973298759509207e-03 ,
		-6.961713457688311e-03 ,
		-5.995100214663904e-03 ,
		-5.083410795294219e-03 ,
		-4.235246636048148e-03 ,
		-3.457736085075439e-03 ,
		-2.756443148364572e-03 ,
		-2.135309159660887e-03 ,
		-1.596628075556499e-03 ,
		-1.141055372585724e-03 ,
		-7.676498064290117e-04 ,
		-4.739466003157051e-04 ,
		-2.560599756378687e-04 ,
		-1.088123368621265e-04 ,
		-2.588688795350144e-05 ,
		0.000000000000000e+00
};
float32_t imu_yaw_src[BLOCK_SIZE];
float32_t imu_yaw_dst[BLOCK_SIZE];

void pose_init(){
  Madgwick_init();
  Madgwick_begin(1000, 2.0);

  arm_fir_init_f32(&fir_struct, NUM_TAPS, &fir_coeffs[0], &fir_state[0], block_size);
}

void pose_zero_yaw(){

}

void pose_proc(){
  if(!Madgwick_is_init()){
	  return;
  }
  IMU_get_acc(&ia[0], &ia[1], &ia[2]);
  IMU_get_gyro(&ig[0], &ig[1], &ig[2]);

  if(g_cnt < 0){
	  g_cnt++;
  }else if(g_cnt < 250){
	  ig_ofst[0] += ig[0];
	  ig_ofst[1] += ig[1];
	  ig_ofst[2] += ig[2];
	  g_cnt++;
  }else if(g_cnt == 250){
	  ig_ofst[0] /= g_cnt;
	  ig_ofst[1] /= g_cnt;
	  ig_ofst[2] /= g_cnt;
	  xprintf("ig_ofst : %d %d %d\r\n",
			  (int32_t)(ig_ofst[0]),
			  (int32_t)(ig_ofst[1]),
			  (int32_t)(ig_ofst[2]));
	  g_cnt++;
  }

  for(int i=0; i<3; i++){
	  fa[i] = 2. * (float)ia[i] / 32768.;
	  fg[i] = 500. * (float)(ig[i] - ig_ofst[i]) / 32768.;
  }
/*
  for(int i=0; i<block_size - 1; i++){
	  imu_yaw_src[i] = imu_yaw_src[i+1];
  }
  imu_yaw_src[block_size - 1] = fg[2];
  arm_fir_f32(&fir_struct, imu_yaw_src, imu_yaw_dst, block_size);
*/
/*
  Madgwick_updateIMU(fg[0], fg[1], imu_yaw_dst[block_size - 1],
		  fa[0], fa[1], fa[2]);
*/
  // 30usec for calculation
  Madgwick_updateIMU(fg[0], fg[1], fg[2],
		  fa[0], fa[1], fa[2]);
  IMU_reflesh();
}

bool set_duty(int32_t argc,int32_t* argv){
	if(argc != 2){
		return false;
	}

	if(argv[0] == 1){
		pwm_set_duty(MD_CH1, argv[1]);
	}else if(argv[0] == 2){
		pwm_set_duty(MD_CH2, argv[1]);
	}

	return true;
}

bool print_cur(int32_t argc, int32_t* argv){
	if(argc > 1){
		return false;
	}

	if(argc == 0){
		xprintf("CUR : %6d %6d", adc_cur1(), adc_cur2());
	}else{
		xprintf("CUR%d = ", argv[0]);
		if(argv[0] == 1){
			xprintf("%6d", adc_cur1());
		}else if(argv[0] == 1){
			xprintf("%6d", adc_cur2());
		}
	}
	xputs("\r\n");
	return true;
}

bool print_adc(int32_t argc, int32_t* argv){
	if(argc > 1){
		return false;
	}

	xprintf("ADC : %4d %4d %4d %4d %4d\r\n", adc_get(ADC_VB), adc_get(ADC_CUR1), adc_get(ADC_CUR2), adc_get(ADC_TEMP), adc_get(ADC_REF1));
	return true;
}

bool print_vb(int32_t argc, int32_t* argv){
	if(argc > 0){
		return false;
	}

	xprintf("VB : %5d\r\n", adc_vbatt());
	return true;
}

bool set_pwm_mode(int32_t argc, int32_t* argv){
	if(argc != 2){
		return false;
	}
	if(argv[0] > MD_CH_MAX){
		return false;
	}
	if(argv[1] > PWM_MODE_MAX){
		return false;
	}

	pwm_set_mode(argv[0], argv[1]);
	xprintf("Set PWM mode to %s\r\n", argv[1] == PWM_DUTY ? "DUTY" : "VCMD");

	return true;
}

bool vcmd(int32_t argc, int32_t* argv){
	if(argc != 2){
		return false;
	}
	if(argv[0] > MD_CH_MAX){
		return false;
	}

	pwm_set_mv(argv[0], argv[1]);
	xprintf("Set target voltage to %d\r\n", argv[1]);

	return true;
}

bool imu_read(int32_t argc, int32_t* argv){
	int32_t ax,ay,az;
	IMU_get_acc(&ax, &ay, &az);
	xprintf("ACC  X:%6d Y:%6d Z:%6d\r\n", ax, ay, az);
	IMU_get_gyro(&ax, &ay, &az);
	xprintf("GYRO X:%6d Y:%6d Z:%6d\r\n", ax, ay, az);
	xprintf("IMU Temp: %6d\r\n", IMU_get_temp());
	return true;
}

bool enc_read(int32_t argc, int32_t* argv){
	xprintf("ENC1:%6d ENC2:%6d\r\n",(int32_t)encoder_get(MD_CH1), (int32_t)encoder_get(MD_CH2));
	return true;
}

bool tc_en(int32_t argc, int32_t* argv){
	if(argc != 1){
		return false;
	}
	if(argv[0] > MD_CH_MAX){
		return false;
	}

	tc_enable(argv[0]);
	xputs("Enable torque controller.\r\n");
	return true;
}

bool ccmd(int32_t argc, int32_t* argv){
	if(argc != 2){
		return false;
	}
	if(argv[0] > MD_CH_MAX){
		return false;
	}

	tc_set_ma(argv[0], argv[1]);
	xprintf("Set target current to %d\r\n", argv[1]);
	return true;
}

bool tcmd(int32_t argc, int32_t* argv){
	if(argc != 2){
		return false;
	}
	if(argv[0] > MD_CH_MAX){
		return false;
	}

	tc_set_trq(argv[0], argv[1]);
	xprintf("Set target torque to %d\r\n", argv[1]);
	return true;
}

bool tc_gain(int32_t argc, int32_t* argv){
	if(argc != 4){
		return false;
	}
	if(argv[0] > MD_CH_MAX){
		return false;
	}

	tc_set_gain(argv[0], argv[1], argv[2], argv[3]);
	xputs("Set torque gain to...\r\n");
	xprintf("kp : %d\r\n", argv[1]);
	xprintf("ki : %d\r\n", argv[2]);
	xprintf("kd : %d\r\n", argv[3]);
	return true;
}

bool tc_lsm(int32_t argc, int32_t* argv){
	if(argc != 3){
		return false;
	}
	if(argv[0] > MD_CH_MAX){
		return false;
	}

	int32_t p,i,d;
	tc_set_gain_by_lsm(argv[0], argv[1], argv[2]);
	tc_get_gain(argv[0], &p, &i, &d);
	xputs("Set torque gain to...\r\n");
	xprintf("kp : %d\r\n", p);
	xprintf("ki : %d\r\n", i);
	xprintf("kd : %d\r\n", d);

	return true;
}

bool tc_bemf(int32_t argc, int32_t* argv){
	if(argc != 1){
		return false;
	}
	if(argv[0] > MD_CH12){
		return false;
	}

	tc_bemf_est(argv[0]);
	xprintf("BEMF [%d] : %d\r\n", argv[0], tc_bemf_est(argv[0]));
	return true;
}

bool tc_vout(int32_t argc, int32_t* argv){
	if(argc != 1){
		return false;
	}
	if(argv[0] > MD_CH12){
		return false;
	}

	tc_bemf_est(argv[0]);
	xprintf("Vout [%d] : %d mV\r\n", argv[0], tc_get_vout(argv[0]));
	return true;
}

bool sc_en(int32_t argc, int32_t* argv){
	if(argc != 1){
		return false;
	}
	if(argv[0] > MD_CH_MAX){
		return false;
	}

	sc_enable(argv[0]);
	xputs("Enabled Speed controller.\r\n");
	return true;
}

bool rpmcmd(int32_t argc, int32_t* argv){
	if(argc == 0){
		xprintf("BEMF RPM : %6d %6d\r\n", sc_get_speed_bemf(MD_CH1), sc_get_speed_bemf(MD_CH2));
		xprintf("ENC  RPM : %6d %6d\r\n", sc_get_speed_enc(MD_CH1), sc_get_speed_enc(MD_CH2));
		return true;
	}

	if(argc != 2){
		return false;
	}
	if(argv[0] > MD_CH_MAX){
		return false;
	}

	sc_set_speed(argv[0], argv[1]);
	xprintf("Set target speed to %d [rpm]\r\n", argv[1]);
	return true;
}

bool sc_gain(int32_t argc, int32_t* argv){
	if(argc != 4){
		return false;
	}
	if(argv[0] > MD_CH_MAX){
		return false;
	}

	sc_set_gain(argv[0], argv[1], argv[2], argv[3]);
	xputs("Set torque gain to...\r\n");
	xprintf("kp : %d\r\n", argv[1]);
	xprintf("ki : %d\r\n", argv[2]);
	xprintf("kd : %d\r\n", argv[3]);
	return true;
}

bool sc_lsm(int32_t argc, int32_t* argv){
	if(argc != 3){
		return false;
	}
	if(argv[0] > MD_CH_MAX){
		return false;
	}

	int32_t p,i,d;
	sc_set_gain_by_lsm(argv[0], argv[1], argv[2]);
	sc_get_gain(argv[0], &p, &i, &d);
	xputs("Set torque gain to...\r\n");
	xprintf("kp : %d\r\n", p);
	xprintf("ki : %d\r\n", i);
	xprintf("kd : %d\r\n", d);

	return true;
}

bool clk_info(int32_t argc, int32_t* argv){
	xprintf("SysClockFreq %d\r\n", HAL_RCC_GetSysClockFreq());
	xprintf("HCLKFreq %d\r\n", HAL_RCC_GetHCLKFreq());
	xprintf("PCLK1Freq %d\r\n", HAL_RCC_GetPCLK1Freq());
	xprintf("PCLK2Freq %d\r\n", HAL_RCC_GetPCLK2Freq());
	return true;
}

bool rpm_log(int32_t argc, int32_t* argv){
	if(argc != 1){
		return false;
	}
	xprintf("START LOG\r\n");
	rpm_log_num = argv[0];
	return true;
}

bool get_pose(int32_t argc, int32_t* argv){
	float r,p,y;
	int32_t ir, ip, iy;
	Madgwick_getPose(&r, &p, &y);
	ir = r;
	ip = p;
	iy = y;
	xprintf("Yaw : %7d\r\n", (int32_t)(imu_yaw_dst[block_size - 1] * 1000.));
	xprintf("Pose : %4d.%03d %4d.%03d %4d.%03d\r\n",
			ir, abs((int32_t)((r - ir) * 1000)),
			ip, abs((int32_t)((p - ip) * 1000)),
			iy, abs((int32_t)((y - iy) * 1000)) );
	return true;
}
/* USER CODE END 4 */

void Error_Handler(void)
{
  while(1)
  {
  }
}

/************************ (C) COPYRIGHT STMicroelectronics *****END OF FILE****/
